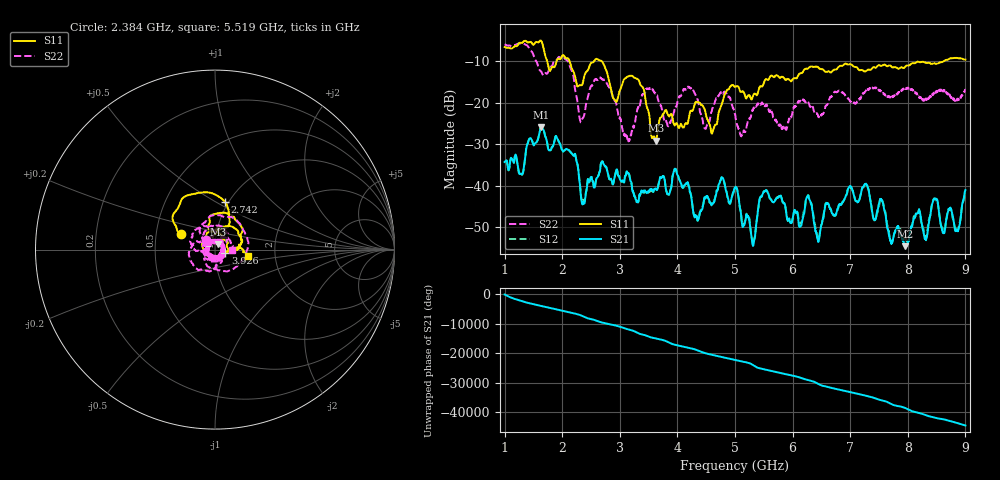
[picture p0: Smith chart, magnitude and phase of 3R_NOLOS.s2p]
!Keysight Technologies N9915A: A.10.33
!Date: Tuesday, 12 May 2020 14:28:03
!Timezone: (UTC+08:00) Perth
!Model: N9915A
!Serial: MY53102697
!GPS Latitude:
!GPS Longitude:
!GPS TimeStamp: 0001-01-01 00:00:00Z
!GPS Seconds Since Last Read: 0
!CHECKSUM:0548222725
!Correction: S11(ON U)S21(ON U)S12(ON U)S22(ON U)
!S2P File: Measurements:S11,S21,S12,S22:
# Hz S DB R 50
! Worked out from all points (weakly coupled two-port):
!   10001 points, 1 GHz to 9 GHz, reference 50 ohm
!   highest |S21| = -25.84 dB at 1.635 GHz (marker M1); lowest = -54.5 dB at 7.95 GHz (marker M2)
!   lowest |S11| = -29.1 dB at 3.628 GHz (marker M3), VSWR 1.07, Z = 51.7 + j3.11 ohm
!   |S11| at or under -10 dB: 1.741 GHz to 1.901 GHz (159.8 MHz wide, 8.78 % of centre); 2.13 GHz to 2.55 GHz (419.7 MHz wide, 17.9 % of centre); 2.692 GHz to 8.619 GHz (5.927 GHz wide, 105 % of centre)
!   |S22| runs from -29.2 to -5.5 dB; largest |S21 - S12| = 0.01
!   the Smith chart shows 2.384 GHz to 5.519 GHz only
!   S11 on the Smith chart (normalised r, x): 2.384 GHz: 0.67, +0.12; 2.742 GHz: 0.96, +0.55; 3.926 GHz: 1.12, -0.04; 5.519 GHz: 1.45, -0.10
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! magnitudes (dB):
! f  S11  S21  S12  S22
! 1 GHz  -6.5  -34.2  -34.3  -5.8
! 1.635 GHz  -5.0  -25.8  -25.8  -12.5
! 2.077 GHz  -9.3  -31.1  -31.1  -9.6
! 2.334 GHz  -15.7  -43.5  -43.1  -24.2
! 2.384 GHz  -13.5  -44.2  -43.8  -22.8
! 2.742 GHz  -11.4  -35.2  -35.3  -14.5
! 3.145 GHz  -13.6  -37.0  -37.0  -28.9
! 3.628 GHz  -29.1  -40.8  -40.7  -17.9
! 3.667 GHz  -25.7  -40.0  -39.9  -19.2
! 3.926 GHz  -24.6  -36.9  -36.9  -23.1
! 4.333 GHz  -19.7  -47.2  -47.3  -18.5
! 4.613 GHz  -26.8  -44.2  -44.0  -21.2
! 5 GHz  -16.1  -40.6  -40.8  -22.6
! 5.314 GHz  -18.2  -54.4  -54.1  -21.5
! 5.519 GHz  -14.5  -41.2  -41.2  -20.7
! 6.334 GHz  -11.2  -44.9  -44.7  -20.9
! 6.443 GHz  -11.4  -53.3  -52.8  -23.3
! 7.269 GHz  -12.3  -39.5  -39.5  -17.1
! 7.667 GHz  -11.0  -51.3  -50.8  -18.4
! 7.95 GHz  -11.3  -54.5  -52.5  -16.6
! 8.859 GHz  -9.2  -50.7  -50.6  -19.0
! 9 GHz  -9.5  -41.0  -41.8  -16.8
